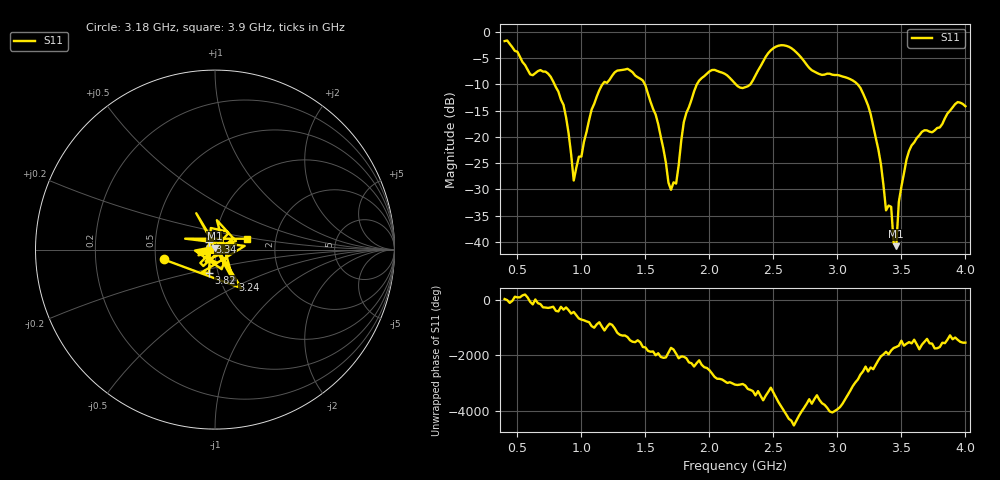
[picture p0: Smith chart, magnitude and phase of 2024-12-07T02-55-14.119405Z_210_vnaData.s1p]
!Created with skrf (http://scikit-rf.org).
# Hz S RI R 50.0
!freq ReS11 ImS11
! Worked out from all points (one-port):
!   181 points, 400 MHz to 4 GHz, reference 50 ohm
!   lowest |S11| = -40.8 dB at 3.46 GHz (marker M1), VSWR 1.02, Z = 49.8 + j0.886 ohm
!   |S11| at or under -10 dB: 789.9 MHz to 1.165 GHz (375.1 MHz wide, 38.4 % of centre); 1.496 GHz to 1.902 GHz (406.5 MHz wide, 23.9 % of centre); 3.158 GHz to end of sweep (the widest 3 of 4)
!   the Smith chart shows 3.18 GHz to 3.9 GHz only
!   S11 on the Smith chart (normalised r, x): 3.18 GHz: 0.55, -0.07; 3.24 GHz: 1.15, -0.41; 3.34 GHz: 0.94, +0.08; 3.82 GHz: 0.91, -0.24; 3.9 GHz: 1.43, +0.18
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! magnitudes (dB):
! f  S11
! 400 MHz  -1.8
! 600 MHz  -8.1
! 740 MHz  -8.0
! 860 MHz  -13.9
! 940 MHz  -28.3
! 1.14 GHz  -11.1
! 1.3 GHz  -7.3
! 1.5 GHz  -10.2
! 1.7 GHz  -30.1
! 1.76 GHz  -25.4
! 1.8 GHz  -17.2
! 1.92 GHz  -9.3
! 2.2 GHz  -9.8
! 2.52 GHz  -2.8
! 2.66 GHz  -3.5
! 3.1 GHz  -9.0
! 3.18 GHz  -10.7
! 3.24 GHz  -14.1
! 3.34 GHz  -25.2
! 3.38 GHz  -34.0
! 3.42 GHz  -33.3
! 3.44 GHz  -40.3
! 3.46 GHz  -40.8
! 3.48 GHz  -32.4
! 3.56 GHz  -22.7
! 3.82 GHz  -17.5
! 3.9 GHz  -14.4
! 4 GHz  -14.2
